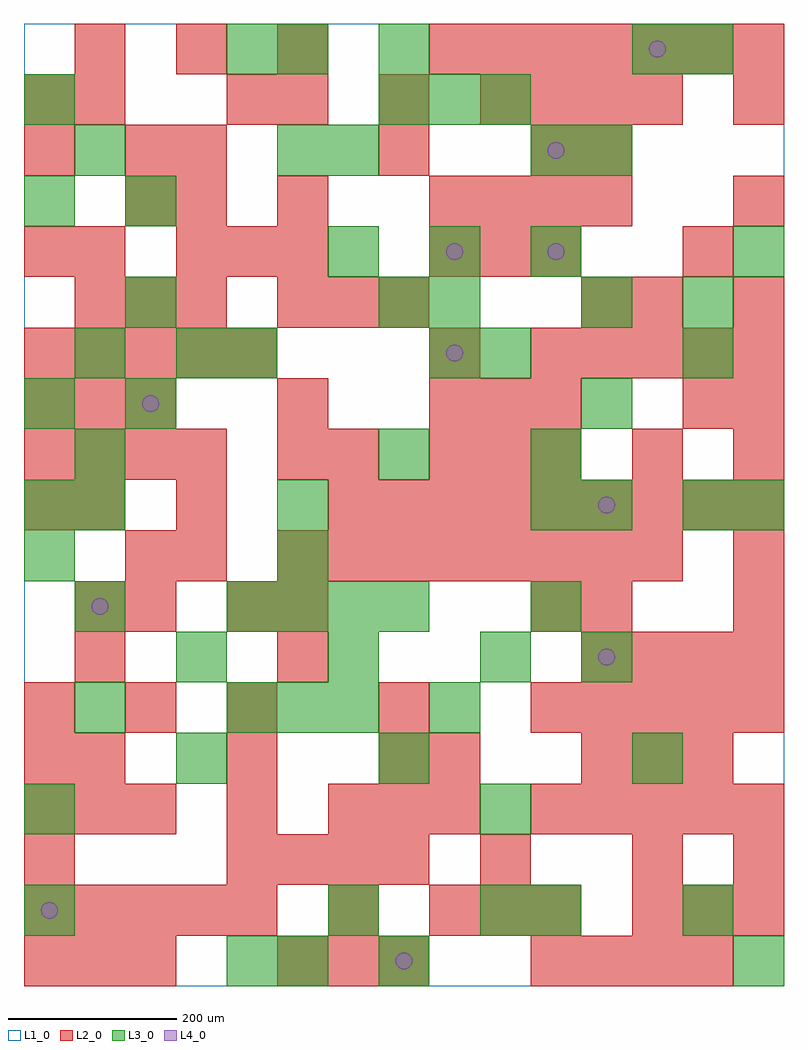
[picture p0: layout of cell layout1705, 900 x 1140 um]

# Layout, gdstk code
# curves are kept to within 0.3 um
import gdstk
lib = gdstk.Library(unit=1e-6, precision=1e-09)
def R(c, l, rs):  # rectangles x0, y0, x1, y1
    for r in rs: c.add(gdstk.rectangle(r[:2], r[2:], *l))
def A(c, l, x, y, w, h, nx, ny, dx, dy):  # array of equal rectangles
    R(c, l, [(x+i*dx, y+j*dy, x+i*dx+w, y+j*dy+h) for i in range(nx) for j in range(ny)])
def P(c, l, *ps):  # polygons
    for p in ps: c.add(gdstk.Polygon(p, *l))
L1_0 = (1, 0)
L2_0 = (2, 0)
L3_0 = (3, 0)
L4_0 = (4, 0)

layout1705 = lib.new_cell('layout1705')
R(layout1705, L1_0, [(0,0,900,1140)])
A(layout1705, L2_0, 0, 0, 60, 60, 3, 2, 60, 180)
A(layout1705, L2_0, 300, 0, 60, 60, 3, 2, 60, 780)
A(layout1705, L2_0, 600, 0, 60, 60, 4, 1, 60, 0)
A(layout1705, L2_0, 0, 60, 60, 60, 5, 2, 60, 660)
A(layout1705, L2_0, 480, 60, 60, 60, 3, 2, 60, 540)
A(layout1705, L2_0, 720, 60, 60, 60, 3, 1, 60, 0)
A(layout1705, L2_0, 240, 120, 60, 60, 4, 1, 60, 0)
A(layout1705, L2_0, 360, 180, 60, 60, 3, 1, 60, 0)
A(layout1705, L2_0, 600, 180, 60, 60, 5, 2, 60, 120)
A(layout1705, L2_0, 0, 240, 60, 60, 1, 3, 0, 300)
A(layout1705, L2_0, 60, 240, 60, 60, 3, 1, 180, 0)
A(layout1705, L2_0, 660, 240, 60, 60, 3, 1, 60, 0)
A(layout1705, L2_0, 0, 300, 60, 60, 3, 1, 120, 0)
A(layout1705, L2_0, 660, 360, 60, 60, 4, 1, 60, 0)
A(layout1705, L2_0, 300, 480, 60, 60, 8, 1, 60, 0)
A(layout1705, L2_0, 360, 540, 60, 60, 9, 1, 60, 0)
A(layout1705, L2_0, 0, 600, 60, 60, 4, 1, 60, 0)
A(layout1705, L2_0, 0, 660, 60, 60, 3, 1, 60, 0)
A(layout1705, L2_0, 480, 660, 60, 60, 3, 2, 60, 180)
A(layout1705, L2_0, 840, 660, 60, 60, 1, 4, 0, 120)
A(layout1705, L2_0, 600, 720, 60, 60, 5, 1, 60, 0)
A(layout1705, L2_0, 60, 780, 60, 60, 3, 1, 60, 0)
A(layout1705, L2_0, 180, 840, 60, 60, 3, 1, 60, 0)
A(layout1705, L2_0, 480, 900, 60, 60, 4, 1, 60, 0)
A(layout1705, L2_0, 300, 1020, 60, 60, 3, 1, 120, 0)
A(layout1705, L2_0, 600, 1020, 60, 60, 3, 1, 60, 0)
A(layout1705, L2_0, 60, 1080, 60, 60, 3, 1, 120, 0)
A(layout1705, L2_0, 480, 1080, 60, 60, 7, 1, 60, 0)
R(layout1705, L2_0, [(360,60,420,120), (0,120,60,180), (540,120,600,180), (720,120,780,180), (840,120,900,180), (240,180,300,240), (480,240,540,300), (420,300,480,360), (60,360,120,420), (300,360,360,420), (60,420,120,480), (120,420,180,480), (240,420,300,480), (300,420,360,480), (600,420,660,480), (660,420,720,480), (840,420,900,480), (120,480,180,540), (180,480,240,540), (840,480,900,540), (60,540,120,600), (180,540,240,600), (300,600,360,660), (360,600,420,660), (720,600,780,660), (840,600,900,660), (300,660,360,720), (780,660,840,720), (480,720,540,780), (660,780,720,840), (720,780,780,840), (60,840,120,900), (780,840,840,900), (120,900,180,960), (180,900,240,960), (300,900,360,960), (0,960,60,1020), (120,960,180,1020), (180,960,240,1020), (420,960,480,1020), (600,960,660,1020), (660,960,720,1020), (0,1020,60,1080), (60,1020,120,1080), (240,1020,300,1080)])
A(layout1705, L3_0, 60, 300, 60, 60, 1, 3, 0, 120)
A(layout1705, L3_0, 240, 300, 60, 60, 3, 1, 60, 0)
A(layout1705, L3_0, 180, 360, 60, 60, 3, 1, 180, 0)
A(layout1705, L3_0, 240, 420, 60, 60, 4, 1, 60, 0)
A(layout1705, L3_0, 660, 540, 60, 60, 1, 3, 0, 120)
A(layout1705, L3_0, 120, 660, 60, 60, 1, 3, 0, 120)
A(layout1705, L3_0, 360, 840, 60, 60, 3, 1, 120, 0)
A(layout1705, L3_0, 420, 1020, 60, 60, 3, 1, 60, 0)
R(layout1705, L3_0, [(240,0,300,60), (300,0,360,60), (420,0,480,60), (840,0,900,60), (0,60,60,120), (360,60,420,120), (540,60,600,120), (600,60,660,120), (780,60,840,120), (0,180,60,240), (540,180,600,240), (180,240,240,300), (420,240,480,300), (720,240,780,300), (480,300,540,360), (660,360,720,420), (600,420,660,480), (0,480,60,540), (300,480,360,540), (0,540,60,600), (300,540,360,600), (600,540,660,600), (780,540,840,600), (840,540,900,600), (60,600,120,660), (420,600,480,660), (600,600,660,660), (0,660,60,720), (60,720,120,780), (180,720,240,780), (240,720,300,780), (480,720,540,780), (540,720,600,780), (780,720,840,780), (420,780,480,840), (480,780,540,840), (780,780,840,840), (840,840,900,900), (0,900,60,960), (60,960,120,1020), (300,960,360,1020), (360,960,420,1020), (600,960,660,1020), (660,960,720,1020), (0,1020,60,1080), (240,1080,300,1140), (300,1080,360,1140), (420,1080,480,1140), (720,1080,780,1140), (780,1080,840,1140)])
P(layout1705, L4_0, [(40,90),(39.239,93.827),(37.071,97.071),(33.827,99.239),(30,100),(26.173,99.239),(22.929,97.071),(20.761,93.827),(20,90),(20.761,86.173),(22.929,82.929),(26.173,80.761),(30,80),(33.827,80.761),(37.071,82.929),(39.239,86.173)],
  [(100,450),(99.239,453.827),(97.071,457.071),(93.827,459.239),(90,460),(86.173,459.239),(82.929,457.071),(80.761,453.827),(80,450),(80.761,446.173),(82.929,442.929),(86.173,440.761),(90,440),(93.827,440.761),(97.071,442.929),(99.239,446.173)],
  [(160,690),(159.239,693.827),(157.071,697.071),(153.827,699.239),(150,700),(146.173,699.239),(142.929,697.071),(140.761,693.827),(140,690),(140.761,686.173),(142.929,682.929),(146.173,680.761),(150,680),(153.827,680.761),(157.071,682.929),(159.239,686.173)],
  [(460,30),(459.239,33.827),(457.071,37.071),(453.827,39.239),(450,40),(446.173,39.239),(442.929,37.071),(440.761,33.827),(440,30),(440.761,26.173),(442.929,22.929),(446.173,20.761),(450,20),(453.827,20.761),(457.071,22.929),(459.239,26.173)],
  [(520,750),(519.239,753.827),(517.071,757.071),(513.827,759.239),(510,760),(506.173,759.239),(502.929,757.071),(500.761,753.827),(500,750),(500.761,746.173),(502.929,742.929),(506.173,740.761),(510,740),(513.827,740.761),(517.071,742.929),(519.239,746.173)],
  [(520,870),(519.239,873.827),(517.071,877.071),(513.827,879.239),(510,880),(506.173,879.239),(502.929,877.071),(500.761,873.827),(500,870),(500.761,866.173),(502.929,862.929),(506.173,860.761),(510,860),(513.827,860.761),(517.071,862.929),(519.239,866.173)],
  [(640,870),(639.239,873.827),(637.071,877.071),(633.827,879.239),(630,880),(626.173,879.239),(622.929,877.071),(620.761,873.827),(620,870),(620.761,866.173),(622.929,862.929),(626.173,860.761),(630,860),(633.827,860.761),(637.071,862.929),(639.239,866.173)],
  [(640,990),(639.239,993.827),(637.071,997.071),(633.827,999.239),(630,1000),(626.173,999.239),(622.929,997.071),(620.761,993.827),(620,990),(620.761,986.173),(622.929,982.929),(626.173,980.761),(630,980),(633.827,980.761),(637.071,982.929),(639.239,986.173)],
  [(700,390),(699.239,393.827),(697.071,397.071),(693.827,399.239),(690,400),(686.173,399.239),(682.929,397.071),(680.761,393.827),(680,390),(680.761,386.173),(682.929,382.929),(686.173,380.761),(690,380),(693.827,380.761),(697.071,382.929),(699.239,386.173)],
  [(700,570),(699.239,573.827),(697.071,577.071),(693.827,579.239),(690,580),(686.173,579.239),(682.929,577.071),(680.761,573.827),(680,570),(680.761,566.173),(682.929,562.929),(686.173,560.761),(690,560),(693.827,560.761),(697.071,562.929),(699.239,566.173)],
  [(760,1110),(759.239,1113.827),(757.071,1117.071),(753.827,1119.239),(750,1120),(746.173,1119.239),(742.929,1117.071),(740.761,1113.827),(740,1110),(740.761,1106.173),(742.929,1102.929),(746.173,1100.761),(750,1100),(753.827,1100.761),(757.071,1102.929),(759.239,1106.173)])

lib.write_gds('layout1705.gds')
